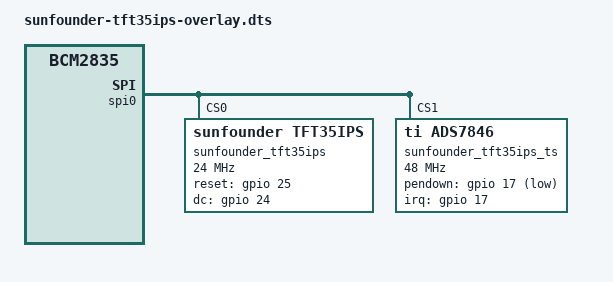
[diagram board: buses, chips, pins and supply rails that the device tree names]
/*
 * Device Tree overlay for SunFounder TFT35IPS display shield
 *
 */

/dts-v1/;
/plugin/;

/ {
	compatible = "brcm,bcm2835";

	fragment@0 {
		target = <&spi0>;
		__overlay__ {
			status = "okay";
		};
	};

	fragment@1 {
		target = <&spidev0>;
		__overlay__ {
			status = "disabled";
		};
	};

	fragment@2 {
		target = <&spidev1>;
		__overlay__ {
			status = "disabled";
		};
	};

	fragment@3 {
		target = <&gpio>;
		__overlay__ {
			sunfounder_tft35ips_pins: sunfounder_tft35ips_pins {
				brcm,pins = <17 25 24>;
				brcm,function = <0 1 1>; /* in out out out */
			};
		};
	};

	fragment@4 {
		target = <&spi0>;
		__overlay__ {
			/* needed to avoid dtc warning */
			#address-cells = <1>;
			#size-cells = <0>;

			sunfounder_tft35ips: sunfounder_tft35ips@0{
			    compatible = "sunfounder,tft35ips";
				// compatible = "ilitek,ili9486";
				reg = <0>;
				pinctrl-names = "default";
				pinctrl-0 = <&sunfounder_tft35ips_pins>;

				spi-max-frequency = <24000000>;
				rotation = <180>;
                                bgr;
                                color_invert;
				reset-gpios = <&gpio 25 0>; // GPIO_ACTIVE_HIGH
				dc-gpios = <&gpio 24 0>; // GPIO_ACTIVE_HIGH
                                /*
				init = <0x1000011 0x20000ff
                                        0x1000036 0x28
                                        0x100003a 0x55
                                        0x10000f0 0xc3
                                        0x10000f0 0x96
                                        0x10000b4 0x01
                                        0x10000b7 0xc6
                                        0x10000c0 0x80 0x45
                                        0x10000c1 0x13
                                        0x10000c2 0xa7
                                        0x10000c5 0x0a
                                        0x10000e8 0x40 0x8a 0x00 0x00 0x29 0x19 0xa5 0x33
                                        0x10000e0 0xd0 0x08 0x0f 0x06 0x06 0x33 0x30 0x33 0x47 0x17 0x13 0x13 0x2b 0x31
                                        0x10000e1 0xd0 0x0a 0x11 0x0b 0x09 0x07 0x2f 0x33 0x47 0x38 0x15 0x16 0x2c 0x32
                                        0x10000f0 0x3c
                                        0x10000f0 0x69
                                        0x20000ff
                                        0x1000021
                                        0x1000029>;
                                */
			};

			sunfounder_tft35ips_ts: sunfounder_tft35ips-ts@1 {
				compatible = "ti,ads7846";
				reg = <1>;

				spi-max-frequency = <48000000>;
				interrupts = <17 2>; /* high-to-low edge triggered */
				interrupt-parent = <&gpio>;
				pendown-gpio = <&gpio 17 1>; // GPIO_ACTIVE_LOW
				touchscreen-swapped-x-y;
                                touchscreen-inverted-x;
                                touchscreen-inverted-y;
				ti,x-plate-ohms = /bits/ 16 <100>;
				ti,pressure-max = /bits/ 16 <255>;
			};
		};
	};
	__overrides__ {
		speed =		<&sunfounder_tft35ips>,"spi-max-frequency:0";
		rotate =	<&sunfounder_tft35ips>,"rotation:180";
		bgr = 		<&sunfounder_tft35ips>,"bgr=0";
                color_invert=   <&sunfounder_tft35ips>,"color_invert!";
		xohms =		<&sunfounder_tft35ips_ts>,"ti,x-plate-ohms;0";
		invx =		<&sunfounder_tft35ips_ts>,"touchscreen-inverted-x!";
		invy =		<&sunfounder_tft35ips_ts>,"touchscreen-inverted-y!";
		swapxy =	<&sunfounder_tft35ips_ts>,"touchscreen-swapped-x-y!";
	};
};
